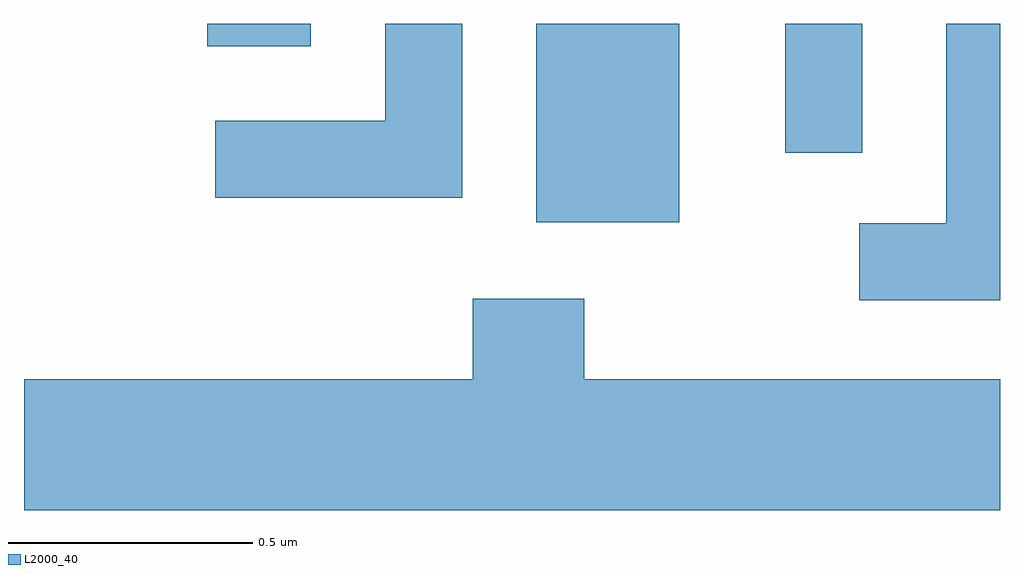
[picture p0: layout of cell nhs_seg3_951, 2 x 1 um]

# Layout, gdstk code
import gdstk
lib = gdstk.Library(unit=1e-6, precision=1e-09)
def R(c, l, rs):  # rectangles x0, y0, x1, y1
    for r in rs: c.add(gdstk.rectangle(r[:2], r[2:], *l))
def P(c, l, *ps):  # polygons
    for p in ps: c.add(gdstk.Polygon(p, *l))
L2000_40 = (2000, 40)

nhs_seg3_951 = lib.new_cell('nhs_seg3_951')
R(nhs_seg3_951, L2000_40, [(192.661,1246.486,192.954,1246.892), (193.171,1246.628,193.329,1246.892), (191.986,1246.846,192.199,1246.892)])
P(nhs_seg3_951, L2000_40, [(193.611,1246.892),(193.501,1246.892),(193.501,1246.484),(193.323,1246.484),(193.323,1246.326),(193.611,1246.326)],
  [(192.509,1246.892),(192.351,1246.892),(192.351,1246.694),(192.003,1246.694),(192.003,1246.536),(192.509,1246.536)],
  [(193.611,1246.164),(192.759,1246.164),(192.759,1246.329),(192.531,1246.329),(192.531,1246.164),(191.611,1246.164),(191.611,1245.896),(193.611,1245.896)])

lib.write_gds('nhs_seg3_951.gds')
